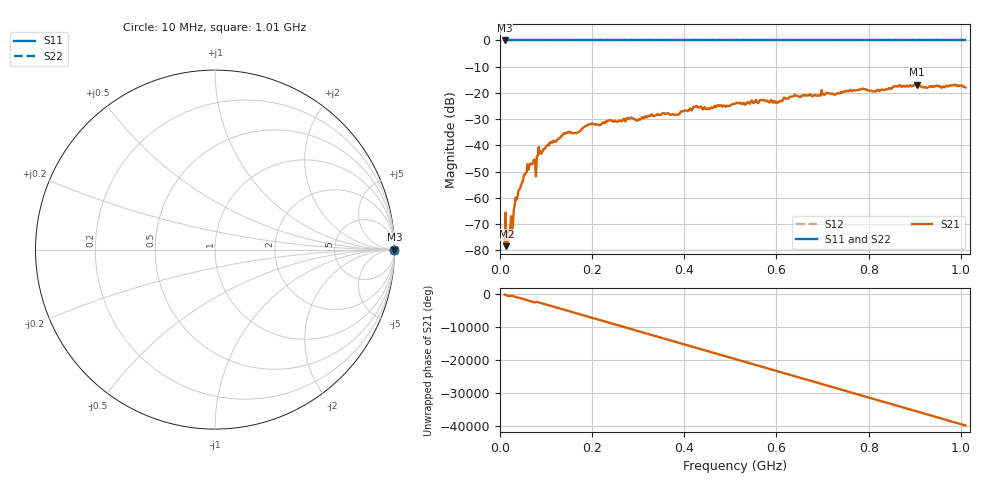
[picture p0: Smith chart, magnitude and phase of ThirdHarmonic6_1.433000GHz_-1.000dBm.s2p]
! 8/16/2025 4:32:17 PM
! C:\ANRITSUVNA\TEMP\TEMP.S2P
! CHANNEL.1
! TR.MEASUREMENT
! RAW.DATA
! RF.CORRECTION.OFF
! AVERAGING.OFF
! IF.BANDWIDTH: 5KHZ
! SWEEPTYPE:  FREQ.SWEEP(Linear)
! Reference Plane Port Info
! PORT:  PORT1  PORT2
! DISTANCE:  0  m  0  m
! TIME:  0  s  0  s
! PHASE.OFFSET:  0  deg.  0  deg.
! LOSS:  0  dB  0  dB
! REF.LOSS:  0  dB  0  dB
! REF.FREQ:  0  Hz  0  Hz
! Power Info
! POWER:  -20  dBm  -20  dBm
! EFF.POWER:  -20  dBm  -20  dBm
! SOURCE.ATTEN:  0  dB  0  dB
! TEST.ATTEN:  0  dB  0  dB
# GHZ S RI R 50.0
! FREQ.GHZ  S11RE  S11IM  S21RE  S21IM  S12RE  S12IM  S22RE  S22IM
!; PortSelection: Port_12
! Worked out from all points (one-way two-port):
!   501 points, 10 MHz to 1.01 GHz, reference 50 ohm
!   highest |S21| = -16.81 dB at 904 MHz (marker M1); lowest = -78.4 dB at 14 MHz (marker M2)
!   lowest |S11| = 0.0 dB at 10 MHz (marker M3)
!   |S11| at or under -10 dB: nowhere
!   |S22| runs from 0.0 to 0.0 dB; largest |S21 - S12| = 1.1
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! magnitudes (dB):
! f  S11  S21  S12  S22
! 10 MHz  0.0  -77.2  0.0  0.0
! 14 MHz  0.0  -78.4  0.0  0.0
! 16 MHz  0.0  -77.4  0.0  0.0
! 18 MHz  0.0  -72.3  0.0  0.0
! 20 MHz  0.0  -72.3  0.0  0.0
! 24 MHz  0.0  -67.0  0.0  0.0
! 38 MHz  0.0  -59.5  0.0  0.0
! 64 MHz  0.0  -47.4  0.0  0.0
! 74 MHz  0.0  -45.4  0.0  0.0
! 84 MHz  0.0  -40.6  0.0  0.0
! 112 MHz  0.0  -39.0  0.0  0.0
! 142 MHz  0.0  -35.5  0.0  0.0
! 178 MHz  0.0  -33.8  0.0  0.0
! 196 MHz  0.0  -31.9  0.0  0.0
! 344 MHz  0.0  -28.3  0.0  0.0
! 510 MHz  0.0  -24.1  0.0  0.0
! 602 MHz  0.0  -23.4  0.0  0.0
! 638 MHz  0.0  -21.1  0.0  0.0
! 678 MHz  0.0  -21.3  0.0  0.0
! 844 MHz  0.0  -18.2  0.0  0.0
! 904 MHz  0.0  -16.8  0.0  0.0
! 1.01 GHz  0.0  -17.9  0.0  0.0
